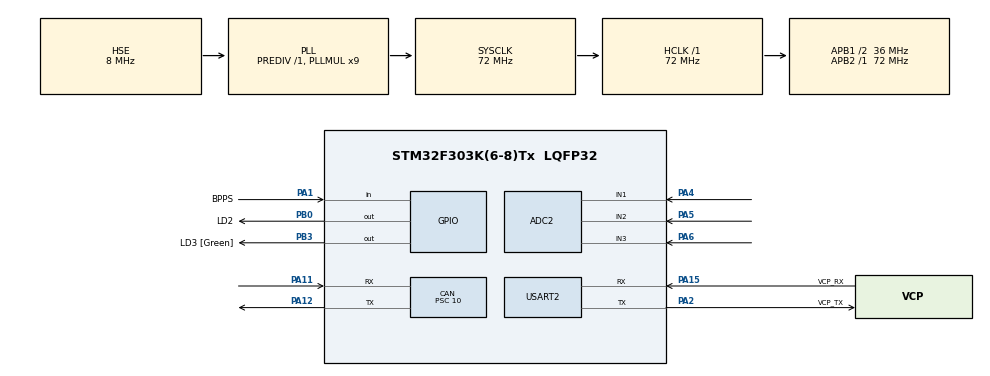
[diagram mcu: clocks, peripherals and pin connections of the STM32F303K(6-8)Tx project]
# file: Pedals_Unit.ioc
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ADC2.Channel-0\#ChannelRegularConversion=ADC_CHANNEL_1
ADC2.Channel-1\#ChannelRegularConversion=ADC_CHANNEL_2
ADC2.Channel-5\#ChannelRegularConversion=ADC_CHANNEL_3
ADC2.ClockPrescaler=ADC_CLOCK_SYNC_PCLK_DIV2
ADC2.EOCSelection=ADC_EOC_SINGLE_CONV
ADC2.Mode=ADC_MODE_INDEPENDENT
ADC2.NbrOfConversion=3
ADC2.NbrOfConversionFlag=1
ADC2.Offset-0\#ChannelRegularConversion=0
ADC2.Offset-1\#ChannelRegularConversion=0
ADC2.Offset-5\#ChannelRegularConversion=0
ADC2.OffsetNumber-0\#ChannelRegularConversion=ADC_OFFSET_NONE
ADC2.OffsetNumber-1\#ChannelRegularConversion=ADC_OFFSET_NONE
ADC2.OffsetNumber-5\#ChannelRegularConversion=ADC_OFFSET_NONE
ADC2.Rank-0\#ChannelRegularConversion=1
ADC2.Rank-1\#ChannelRegularConversion=2
ADC2.Rank-5\#ChannelRegularConversion=3
ADC2.SamplingTime-0\#ChannelRegularConversion=ADC_SAMPLETIME_19CYCLES_5
ADC2.SamplingTime-1\#ChannelRegularConversion=ADC_SAMPLETIME_19CYCLES_5
ADC2.SamplingTime-5\#ChannelRegularConversion=ADC_SAMPLETIME_19CYCLES_5
ADC2.SubFamily=STM32F303x8
CAN.ABOM=ENABLE
CAN.AWUM=ENABLE
CAN.BS1=CAN_BS1_5TQ
CAN.BS2=CAN_BS2_2TQ
CAN.CalculateTimeQuantum=277.77777777777777
CAN.Prescaler=10
Mcu.Family=STM32F3
Mcu.Name=STM32F303K(6-8)Tx
Mcu.Package=LQFP32
NVIC.ADC1_2_IRQn=true\:0\:0\:false\:false\:true\:true\:true
NVIC.CAN_RX0_IRQn=true\:0\:0\:false\:false\:true\:true\:true
NVIC.CAN_RX1_IRQn=true\:0\:0\:false\:false\:true\:true\:true
NVIC.CAN_SCE_IRQn=true\:0\:0\:false\:false\:true\:true\:true
NVIC.CAN_TX_IRQn=true\:0\:0\:false\:false\:true\:true\:true
NVIC.PriorityGroup=NVIC_PRIORITYGROUP_4
PA1.GPIO_Label=BPPS
PA1.GPIO_PuPd=GPIO_PULLDOWN
PA1.Signal=GPIO_Input
PA11.Mode=Master
PA11.Signal=CAN_RX
PA12.Mode=Master
PA12.Signal=CAN_TX
PA13.GPIO_Label=SWDIO
PA13.Mode=Serial_Wire
PA13.Signal=SYS_JTMS-SWDIO
PA14.GPIO_Label=SWCLK
PA14.Mode=Serial_Wire
PA14.Signal=SYS_JTCK-SWCLK
PA15.GPIO_Label=VCP_RX
PA15.Mode=Asynchronous
PA15.Signal=USART2_RX
PA2.GPIO_Label=VCP_TX
PA2.Mode=Asynchronous
PA2.Signal=USART2_TX
PA4.Mode=IN1-Single-Ended
PA4.Signal=ADC2_IN1
PA5.Mode=IN2-Single-Ended
PA5.Signal=ADC2_IN2
PA6.Mode=IN3-Single-Ended
PA6.Signal=ADC2_IN3
PB0.GPIO_Label=LD2
PB0.Signal=GPIO_Output
PB3.GPIO_Label=LD3 [Green]
PB3.Signal=GPIO_Output
PF0\ /\ OSC_IN.GPIO_Label=MCO
PF0\ /\ OSC_IN.Mode=HSE-External-Clock-Source
PF0\ /\ OSC_IN.Signal=RCC_OSC_IN
ProjectManager.HeapSize=0x200
ProjectManager.StackSize=0x400
ProjectManager.TargetToolchain=SW4STM32
RCC.AHBFreq_Value=72000000
RCC.APB1CLKDivider=RCC_HCLK_DIV2
RCC.APB1Freq_Value=36000000
RCC.APB1TimFreq_Value=72000000
RCC.APB2Freq_Value=72000000
RCC.APB2TimFreq_Value=72000000
RCC.CortexFreq_Value=72000000
RCC.HCLKFreq_Value=72000000
RCC.HSE_VALUE=8000000
RCC.HSI_VALUE=8000000
RCC.PLLMUL=RCC_PLL_MUL9
RCC.PLLSourceVirtual=RCC_PLLSOURCE_HSE
RCC.SYSCLKFreq_VALUE=72000000
RCC.SYSCLKSourceVirtual=RCC_SYSCLKSOURCE_PLLCLK
USART2.VirtualMode-Asynchronous=VM_ASYNC
board=NUCLEO-F303K8

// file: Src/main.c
/* USER CODE BEGIN Header */
/**
  ******************************************************************************
  * @file           : main.c
  * @brief          : Main program body
  ******************************************************************************
  ** This notice applies to any and all portions of this file
  * that are not between comment pairs USER CODE BEGIN and
  * USER CODE END. Other portions of this file, whether
  * inserted by the user or by software development tools
  * are owned by their respective copyright owners.
  *
  * COPYRIGHT(c) 2019 STMicroelectronics
  *
  * Redistribution and use in source and binary forms, with or without modification,
  * are permitted provided that the following conditions are met:
  *   1. Redistributions of source code must retain the above copyright notice,
  *      this list of conditions and the following disclaimer.
  *   2. Redistributions in binary form must reproduce the above copyright notice,
  *      this list of conditions and the following disclaimer in the documentation
  *      and/or other materials provided with the distribution.
  *   3. Neither the name of STMicroelectronics nor the names of its contributors
  *      may be used to endorse or promote products derived from this software
  *      without specific prior written permission.
  *
  * THIS SOFTWARE IS PROVIDED BY THE COPYRIGHT HOLDERS AND CONTRIBUTORS "AS IS"
  * AND ANY EXPRESS OR IMPLIED WARRANTIES, INCLUDING, BUT NOT LIMITED TO, THE
  * IMPLIED WARRANTIES OF MERCHANTABILITY AND FITNESS FOR A PARTICULAR PURPOSE ARE
  * DISCLAIMED. IN NO EVENT SHALL THE COPYRIGHT HOLDER OR CONTRIBUTORS BE LIABLE
  * FOR ANY DIRECT, INDIRECT, INCIDENTAL, SPECIAL, EXEMPLARY, OR CONSEQUENTIAL
  * DAMAGES (INCLUDING, BUT NOT LIMITED TO, PROCUREMENT OF SUBSTITUTE GOODS OR
  * SERVICES; LOSS OF USE, DATA, OR PROFITS; OR BUSINESS INTERRUPTION) HOWEVER
  * CAUSED AND ON ANY THEORY OF LIABILITY, WHETHER IN CONTRACT, STRICT LIABILITY,
  * OR TORT (INCLUDING NEGLIGENCE OR OTHERWISE) ARISING IN ANY WAY OUT OF THE USE
  * OF THIS SOFTWARE, EVEN IF ADVISED OF THE POSSIBILITY OF SUCH DAMAGE.
  *
  ******************************************************************************
  */
/* USER CODE END Header */

#include "main.h"

ADC_HandleTypeDef hadc2;

CAN_HandleTypeDef hcan;

UART_HandleTypeDef huart2;

/* USER CODE BEGIN PV */

const uint8_t unit_ID = UNIT_ID;
unsigned int time_out_ADC_2 = 0;

volatile unsigned char CAN_1_Rx_received_flg = 0x00;
volatile unsigned char CAN_1_RecData[8];
unsigned long CAN_1_specific_id_test  = 0x00;
unsigned long CAN_1_temp_id;
unsigned int  CAN_1_eid;
unsigned int  CAN_1_sid;
uint32_t CAN_1_ide;
uint32_t CAN_1_rtr;
uint32_t CAN_1_dlc;
uint32_t CAN_1_fmi;

uint16_t ADC_DATA_MSB = 0x00;
uint16_t ADC_DATA_LSB = 0x00;

volatile uint16_t buff_adc_2[3];

long temp_id;

/* USER CODE END PV */

void SystemClock_Config(void);
static void MX_GPIO_Init(void);
static void MX_USART2_UART_Init(void);
static void MX_CAN_Init(void);
static void MX_ADC2_Init(void);

int main(void)
{

  /* MCU Configuration--------------------------------------------------------*/

  /* Reset of all peripherals, Initializes the Flash interface and the Systick. */
  HAL_Init();

  /* Configure the system clock */
  SystemClock_Config();

  /* Initialize all configured peripherals */
  MX_GPIO_Init();
  MX_USART2_UART_Init();
  MX_CAN_Init();
  MX_ADC2_Init();
  /* USER CODE BEGIN 2 */

//============= ADC ===================

     ADC2->CR |= ( ADC_CR_ADEN );
     while( !( ADC2->ISR &   ADC_ISR_ADRDY ) ){
       asm("NOP");
     }

#if 0
//      3 CH samp to buff

     ADC2->CR |= ( ADC_CR_ADSTART  );
    while( (!( ADC2->ISR &   ADC_ISR_EOC )) && ( time_out_ADC_2 < TIME_OUT_ADC_2 ) ){
      time_out_ADC_2++;
    }
     buff_adc_2[0] = ADC2->DR;
     ADC2->ISR &= ~ADC_ISR_EOC;
    while( (!( ADC2->ISR &   ADC_ISR_EOC )) && ( time_out_ADC_2 < TIME_OUT_ADC_2 ) ){
      time_out_ADC_2++;
    }
     buff_adc_2[1] = ADC2->DR;
     ADC2->ISR &= ~ADC_ISR_EOC;
    while( (!( ADC2->ISR &   ADC_ISR_EOC )) && ( time_out_ADC_2 < TIME_OUT_ADC_2 ) ){
      time_out_ADC_2++;
    }
     buff_adc_2[2] = ADC2->DR;
     ADC2->ISR &= ~ADC_ISR_EOC;

#endif
//============= CAN ===================

  __HAL_CAN_ENABLE_IT(&hcan,CAN_IT_RX_FIFO0_MSG_PENDING);
  HAL_CAN_Start( &hcan );

#if 1
// standart CAN message by elik
    /* Set up the Id */
    CAN->sTxMailBox[1U].TIR =  (( ( 0x80 + unit_ID ) << 21U) |  0);
    /* Set up the DLC */
    CAN->sTxMailBox[1U].TDTR &= 0xFFFFFFF0U;
    CAN->sTxMailBox[1U].TDTR |= 0x00000008U;
    /* Set up the data field */
    CAN->sTxMailBox[1U].TDLR =  (0x00 << 24U) |  (0x00 << 16U) |(0x00 << 8U) | (0x00 );
    CAN->sTxMailBox[1U].TDHR =  (0x00 << 24U) |  (0x00 << 16U) |(0x00 << 8U) | (0x00 );
    /* Request transmission */
    CAN->sTxMailBox[1U].TIR  |=  CAN_TI0R_TXRQ;

#endif

     asm("NOP");
     asm("NOP");
     asm("NOP");
     asm("NOP");
     asm("NOP");
     asm("NOP");
     asm("NOP");
     asm("NOP");
  /* USER CODE END 2 */

  /* Infinite loop */
  while (1)
  {

    /* USER CODE BEGIN 3 */

#if 0
                  CAN->sTxMailBox[0U].TIR =  (( ( 0x80 + unit_ID )  << 21U) |  0);
                  /* Set up the DLC */
                  CAN->sTxMailBox[0U].TDTR &= 0xFFFFFFF0U;
                  CAN->sTxMailBox[0U].TDTR |= 0x00000008U;
                  /* Set up the data field */
                  CAN->sTxMailBox[0U].TDLR =  (0x55 << 24U) |  (0x55 << 16U) |(0x55 << 8U) | (0x55 );
                  CAN->sTxMailBox[0U].TDHR =  (0x55 << 24U) |  (0x55 << 16U) |(0x55 << 8U) | (0x55 );
                  /* Request transmission */
                  CAN->sTxMailBox[0U].TIR  |=  CAN_TI0R_TXRQ;

  #endif
    HAL_GPIO_WritePin( LD2_GPIO_Port,LD2_Pin ,GPIO_PIN_SET );

    for( int i = 0 ; i < 100000 ; i++ ){

      asm("NOP");

    }
    HAL_GPIO_WritePin( LD2_GPIO_Port,LD2_Pin ,GPIO_PIN_RESET );
    for( int i = 0 ; i < 100000 ; i++ ){

      asm("NOP");
    }

  }

  /* USER CODE END 3 */
}

void SystemClock_Config(void)
{
  RCC_OscInitTypeDef RCC_OscInitStruct = {0};
  RCC_ClkInitTypeDef RCC_ClkInitStruct = {0};

  /** Initializes the CPU, AHB and APB busses clocks
  */
  RCC_OscInitStruct.OscillatorType = RCC_OSCILLATORTYPE_HSE;
  RCC_OscInitStruct.HSEState = RCC_HSE_BYPASS;
  RCC_OscInitStruct.HSEPredivValue = RCC_HSE_PREDIV_DIV1;
  RCC_OscInitStruct.HSIState = RCC_HSI_ON;
  RCC_OscInitStruct.PLL.PLLState = RCC_PLL_ON;
  RCC_OscInitStruct.PLL.PLLSource = RCC_PLLSOURCE_HSE;
  RCC_OscInitStruct.PLL.PLLMUL = RCC_PLL_MUL9;
  if (HAL_RCC_OscConfig(&RCC_OscInitStruct) != HAL_OK)
  {
    Error_Handler();
  }
  /** Initializes the CPU, AHB and APB busses clocks
  */
  RCC_ClkInitStruct.ClockType = RCC_CLOCKTYPE_HCLK|RCC_CLOCKTYPE_SYSCLK
                              |RCC_CLOCKTYPE_PCLK1|RCC_CLOCKTYPE_PCLK2;
  RCC_ClkInitStruct.SYSCLKSource = RCC_SYSCLKSOURCE_PLLCLK;
  RCC_ClkInitStruct.AHBCLKDivider = RCC_SYSCLK_DIV1;
  RCC_ClkInitStruct.APB1CLKDivider = RCC_HCLK_DIV2;
  RCC_ClkInitStruct.APB2CLKDivider = RCC_HCLK_DIV1;

  if (HAL_RCC_ClockConfig(&RCC_ClkInitStruct, FLASH_LATENCY_2) != HAL_OK)
  {
    Error_Handler();
  }
}

static void MX_ADC2_Init(void)
{

  ADC_ChannelConfTypeDef sConfig = {0};

  /* USER CODE BEGIN ADC2_Init 1 */
  hadc2.Instance = ADC2;
  hadc2.Init.ClockPrescaler = ADC_CLOCK_SYNC_PCLK_DIV2;
  hadc2.Init.Resolution = ADC_RESOLUTION_12B;
  hadc2.Init.ScanConvMode = ADC_SCAN_ENABLE;
  hadc2.Init.ContinuousConvMode = DISABLE;
  hadc2.Init.DiscontinuousConvMode = DISABLE;
  hadc2.Init.ExternalTrigConvEdge = ADC_EXTERNALTRIGCONVEDGE_NONE;
  hadc2.Init.ExternalTrigConv = ADC_SOFTWARE_START;
  hadc2.Init.DataAlign = ADC_DATAALIGN_RIGHT;
  hadc2.Init.NbrOfConversion = 3;
  hadc2.Init.DMAContinuousRequests = DISABLE;
  hadc2.Init.EOCSelection = ADC_EOC_SINGLE_CONV;
  hadc2.Init.LowPowerAutoWait = DISABLE;
  hadc2.Init.Overrun = ADC_OVR_DATA_OVERWRITTEN;
  if (HAL_ADC_Init(&hadc2) != HAL_OK)
  {
    Error_Handler();
  }
  /** Configure Regular Channel
  */
  sConfig.Channel = ADC_CHANNEL_1;
  sConfig.Rank = ADC_REGULAR_RANK_1;
  sConfig.SingleDiff = ADC_SINGLE_ENDED;
  sConfig.SamplingTime = ADC_SAMPLETIME_19CYCLES_5;//ADC_SAMPLETIME_601CYCLES_5//ADC_SAMPLETIME_19CYCLES_5
  sConfig.OffsetNumber = ADC_OFFSET_NONE;
  sConfig.Offset = 0;
  if (HAL_ADC_ConfigChannel(&hadc2, &sConfig) != HAL_OK)
  {
    Error_Handler();
  }
  /** Configure Regular Channel
  */
  sConfig.Channel = ADC_CHANNEL_2;
  sConfig.Rank = ADC_REGULAR_RANK_2;
  if (HAL_ADC_ConfigChannel(&hadc2, &sConfig) != HAL_OK)
  {
    Error_Handler();
  }
  /** Configure Regular Channel
  */
  sConfig.Channel = ADC_CHANNEL_3;
  sConfig.Rank = ADC_REGULAR_RANK_3;
  if (HAL_ADC_ConfigChannel(&hadc2, &sConfig) != HAL_OK)
  {
    Error_Handler();
  }

#if 0
  /* USER CODE END ADC2_Init 1 */
  /** Common config
  */
  hadc2.Instance = ADC2;
  hadc2.Init.ClockPrescaler = ADC_CLOCK_SYNC_PCLK_DIV2;
  hadc2.Init.Resolution = ADC_RESOLUTION_12B;
  hadc2.Init.ScanConvMode = ADC_SCAN_ENABLE;
  hadc2.Init.ContinuousConvMode = DISABLE;
  hadc2.Init.DiscontinuousConvMode = DISABLE;
  hadc2.Init.ExternalTrigConvEdge = ADC_EXTERNALTRIGCONVEDGE_NONE;
  hadc2.Init.ExternalTrigConv = ADC_SOFTWARE_START;
  hadc2.Init.DataAlign = ADC_DATAALIGN_RIGHT;
  hadc2.Init.NbrOfConversion = 3;
  hadc2.Init.DMAContinuousRequests = DISABLE;
  hadc2.Init.EOCSelection = ADC_EOC_SINGLE_CONV;
  hadc2.Init.LowPowerAutoWait = DISABLE;
  hadc2.Init.Overrun = ADC_OVR_DATA_OVERWRITTEN;
  if (HAL_ADC_Init(&hadc2) != HAL_OK)
  {
    Error_Handler();
  }
  /** Configure Regular Channel
  */
  sConfig.Channel = ADC_CHANNEL_1;
  sConfig.Rank = ADC_REGULAR_RANK_1;
  sConfig.SingleDiff = ADC_SINGLE_ENDED;
  sConfig.SamplingTime = ADC_SAMPLETIME_19CYCLES_5;
  sConfig.OffsetNumber = ADC_OFFSET_NONE;
  sConfig.Offset = 0;
  if (HAL_ADC_ConfigChannel(&hadc2, &sConfig) != HAL_OK)
  {
    Error_Handler();
  }
  /** Configure Regular Channel
  */
  sConfig.Channel = ADC_CHANNEL_2;
  sConfig.Rank = ADC_REGULAR_RANK_2;
  if (HAL_ADC_ConfigChannel(&hadc2, &sConfig) != HAL_OK)
  {
    Error_Handler();
  }
  /** Configure Regular Channel
  */
  sConfig.Channel = ADC_CHANNEL_3;
  sConfig.Rank = ADC_REGULAR_RANK_3;
  if (HAL_ADC_ConfigChannel(&hadc2, &sConfig) != HAL_OK)
  {
    Error_Handler();
  }
  /* USER CODE BEGIN ADC2_Init 2 */
#endif
  /* USER CODE END ADC2_Init 2 */

}

static void MX_CAN_Init(void)
{

  /* USER CODE BEGIN CAN_Init 0 */
  CAN_FilterTypeDef FilterConfig;
  hcan.Instance = CAN;
  hcan.Init.Prescaler = 1;
  hcan.Init.Mode = CAN_MODE_NORMAL;
  hcan.Init.SyncJumpWidth = CAN_SJW_1TQ;
  hcan.Init.TimeSeg1 = CAN_BS1_5TQ;
  hcan.Init.TimeSeg2 = CAN_BS2_2TQ;
  hcan.Init.TimeTriggeredMode = DISABLE;
  hcan.Init.AutoBusOff = ENABLE;
  hcan.Init.AutoWakeUp = ENABLE;
  hcan.Init.AutoRetransmission = ENABLE;
  hcan.Init.ReceiveFifoLocked = DISABLE;
  hcan.Init.TransmitFifoPriority = DISABLE;
  if (HAL_CAN_Init(&hcan) != HAL_OK)
  {
    Error_Handler();
  }

  FilterConfig.FilterIdHigh = 0xFFFFU;
  FilterConfig.FilterIdLow  = 0xFFFFU;
  FilterConfig.FilterMaskIdHigh = 0x0000U;
  FilterConfig.FilterMaskIdLow = 0x0000U;
  FilterConfig.FilterFIFOAssignment = CAN_FILTER_FIFO0;
  FilterConfig.FilterBank = 0;
  FilterConfig.FilterMode = CAN_FILTERMODE_IDMASK;
  FilterConfig.FilterScale = CAN_FILTERSCALE_32BIT;
  FilterConfig.FilterActivation  = ENABLE;
  FilterConfig.SlaveStartFilterBank  = 0;

  HAL_CAN_ConfigFilter( &hcan,  &FilterConfig );

  /* USER CODE END CAN_Init 0 */

  /* USER CODE BEGIN CAN_Init 1 */

#if 0
  /* USER CODE END CAN_Init 1 */
  hcan.Instance = CAN;
  hcan.Init.Prescaler = 10;
  hcan.Init.Mode = CAN_MODE_NORMAL;
  hcan.Init.SyncJumpWidth = CAN_SJW_1TQ;
  hcan.Init.TimeSeg1 = CAN_BS1_5TQ;
  hcan.Init.TimeSeg2 = CAN_BS2_2TQ;
  hcan.Init.TimeTriggeredMode = DISABLE;
  hcan.Init.AutoBusOff = ENABLE;
  hcan.Init.AutoWakeUp = ENABLE;
  hcan.Init.AutoRetransmission = DISABLE;
  hcan.Init.ReceiveFifoLocked = DISABLE;
  hcan.Init.TransmitFifoPriority = DISABLE;
  if (HAL_CAN_Init(&hcan) != HAL_OK)
  {
    Error_Handler();
  }
  /* USER CODE BEGIN CAN_Init 2 */
#endif

  /* USER CODE END CAN_Init 2 */

}

static void MX_USART2_UART_Init(void)
{

  huart2.Instance = USART2;
  huart2.Init.BaudRate = 38400;
  huart2.Init.WordLength = UART_WORDLENGTH_8B;
  huart2.Init.StopBits = UART_STOPBITS_1;
  huart2.Init.Parity = UART_PARITY_NONE;
  huart2.Init.Mode = UART_MODE_TX_RX;
  huart2.Init.HwFlowCtl = UART_HWCONTROL_NONE;
  huart2.Init.OverSampling = UART_OVERSAMPLING_16;
  huart2.Init.OneBitSampling = UART_ONE_BIT_SAMPLE_DISABLE;
  huart2.AdvancedInit.AdvFeatureInit = UART_ADVFEATURE_NO_INIT;
  if (HAL_UART_Init(&huart2) != HAL_OK)
  {
    Error_Handler();
  }

}

static void MX_GPIO_Init(void)
{
  GPIO_InitTypeDef GPIO_InitStruct = {0};

  /* GPIO Ports Clock Enable */
  __HAL_RCC_GPIOF_CLK_ENABLE();
  __HAL_RCC_GPIOA_CLK_ENABLE();
  __HAL_RCC_GPIOB_CLK_ENABLE();

  /*Configure GPIO pin Output Level */
  HAL_GPIO_WritePin(GPIOB, LD2_Pin|LD3_Pin, GPIO_PIN_RESET);

  /*Configure GPIO pin : BPPS_Pin */
  GPIO_InitStruct.Pin = BPPS_Pin;
  GPIO_InitStruct.Mode = GPIO_MODE_INPUT;
  GPIO_InitStruct.Pull = GPIO_PULLDOWN;
  HAL_GPIO_Init(BPPS_GPIO_Port, &GPIO_InitStruct);

  /*Configure GPIO pins : LD2_Pin LD3_Pin */
  GPIO_InitStruct.Pin = LD2_Pin|LD3_Pin;
  GPIO_InitStruct.Mode = GPIO_MODE_OUTPUT_PP;
  GPIO_InitStruct.Pull = GPIO_NOPULL;
  GPIO_InitStruct.Speed = GPIO_SPEED_FREQ_LOW;
  HAL_GPIO_Init(GPIOB, &GPIO_InitStruct);

}

void Error_Handler(void)
{
}

/************************ (C) COPYRIGHT STMicroelectronics *****END OF FILE****/
